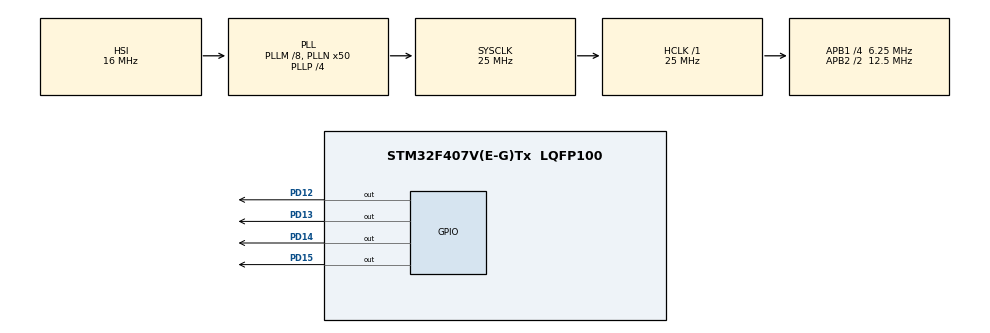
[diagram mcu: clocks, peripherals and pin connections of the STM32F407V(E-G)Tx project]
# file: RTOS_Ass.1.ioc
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Mcu.Family=STM32F4
Mcu.Name=STM32F407V(E-G)Tx
Mcu.Package=LQFP100
NVIC.PriorityGroup=NVIC_PRIORITYGROUP_4
NVIC.TIM1_UP_TIM10_IRQn=true\:0\:0\:false\:false\:true\:false\:true\:true
NVIC.TimeBase=TIM1_UP_TIM10_IRQn
NVIC.TimeBaseIP=TIM1
PD12.Signal=GPIO_Output
PD13.Signal=GPIO_Output
PD14.Signal=GPIO_Output
PD15.Signal=GPIO_Output
ProjectManager.HeapSize=0x200
ProjectManager.StackSize=0x400
ProjectManager.TargetToolchain=STM32CubeIDE
RCC.48MHZClocksFreq_Value=14285714.285714285
RCC.AHBFreq_Value=25000000
RCC.APB1CLKDivider=RCC_HCLK_DIV4
RCC.APB1Freq_Value=6250000
RCC.APB1TimFreq_Value=12500000
RCC.APB2CLKDivider=RCC_HCLK_DIV2
RCC.APB2Freq_Value=12500000
RCC.APB2TimFreq_Value=25000000
RCC.CortexFreq_Value=25000000
RCC.HCLKFreq_Value=25000000
RCC.HSE_VALUE=8000000
RCC.HSI_VALUE=16000000
RCC.LSE_VALUE=32768
RCC.PLLM=8
RCC.PLLN=50
RCC.PLLP=RCC_PLLP_DIV4
RCC.PLLQ=7
RCC.SYSCLKFreq_VALUE=25000000
RCC.SYSCLKSource=RCC_SYSCLKSOURCE_PLLCLK
RCC.VCOOutputFreq_Value=100000000
VP_SYS_VS_tim1.Mode=TIM1
board=STM32F407G-DISC1

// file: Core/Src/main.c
/* USER CODE BEGIN Header */
/**
  ******************************************************************************
  * @file           : main.c
  * @brief          : Main program body
  ******************************************************************************
  * @attention
  *
  * Copyright (c) 2024 STMicroelectronics.
  * All rights reserved.
  *
  * This software is licensed under terms that can be found in the LICENSE file
  * in the root directory of this software component.
  * If no LICENSE file comes with this software, it is provided AS-IS.
  *
  ******************************************************************************
  */
/* USER CODE END Header */
#include "main.h"

/* USER CODE BEGIN Includes */
#include "FreeRTOS.h"
#include  "FreeRTOSConfig.h"
#include "task.h"
/* USER CODE END Includes */

void SystemClock_Config(void);
static void MX_GPIO_Init(void);

/* USER CODE BEGIN 0 */
void vAperiodicTask(void *pvParam)
{
	while(1)
	{
		HAL_GPIO_TogglePin(GPIOD, GPIO_PIN_15);
		vTaskDelay(1000 / portTICK_RATE_MS);
	}
	vTaskDelete(NULL);
}

void vAperiodic1Task1(void *pvParam)
{
	while(1)
	{
		HAL_GPIO_TogglePin(GPIOD, GPIO_PIN_12);
		vTaskDelay(1500 / portTICK_RATE_MS);
	}
	vTaskDelete(NULL);
}

void vPeriodicTask(void *pvParam)
{
	portTickType wakeupTime = xTaskGetTickCount();
	while(1)
	{
		HAL_GPIO_TogglePin(GPIOD, GPIO_PIN_13);
		vTaskDelayUntil(&wakeupTime ,2000 / portTICK_RATE_MS);
	}
	vTaskDelete(NULL);
}

void vPeriodic1Task1(void *pvParam)
{
	portTickType wakeupTime = xTaskGetTickCount();
	while(1)
	{
		HAL_GPIO_TogglePin(GPIOD, GPIO_PIN_14);
		vTaskDelayUntil(&wakeupTime ,2500 / portTICK_RATE_MS);
	}
	vTaskDelete(NULL);
}

/* USER CODE END 0 */

int main(void)
{

  /* USER CODE BEGIN 1 */
	BaseType_t ret;
  /* USER CODE END 1 */

  /* MCU Configuration--------------------------------------------------------*/

  /* Reset of all peripherals, Initializes the Flash interface and the Systick. */
  HAL_Init();

  /* Configure the system clock */
  SystemClock_Config();

  /* Initialize all configured peripherals */
  MX_GPIO_Init();
  /* USER CODE BEGIN 2 */
  ret = xTaskCreate(vPeriodicTask, "Periodic", configMINIMAL_STACK_SIZE, NULL, 2, NULL);
  if(ret != pdTRUE)
	  Error_Handler();
  ret = xTaskCreate(vPeriodic1Task1, "Periodic1", configMINIMAL_STACK_SIZE, NULL, 2, NULL);
    if(ret != pdTRUE)
  	  Error_Handler();
  ret = xTaskCreate(vAperiodicTask, "Aperiodic", configMINIMAL_STACK_SIZE, NULL, 2, NULL);
  if(ret != pdTRUE)
  	  Error_Handler();
  ret = xTaskCreate(vAperiodic1Task1, "Aperiodic1", configMINIMAL_STACK_SIZE, NULL, 2, NULL);
    if(ret != pdTRUE)
    	  Error_Handler();

  vTaskStartScheduler();
  /* USER CODE END 2 */

  /* Infinite loop */
  while (1)
  {

  }
}

void SystemClock_Config(void)
{
  RCC_OscInitTypeDef RCC_OscInitStruct = {0};
  RCC_ClkInitTypeDef RCC_ClkInitStruct = {0};

  /** Configure the main internal regulator output voltage
  */
  __HAL_RCC_PWR_CLK_ENABLE();
  __HAL_PWR_VOLTAGESCALING_CONFIG(PWR_REGULATOR_VOLTAGE_SCALE1);

  /** Initializes the RCC Oscillators according to the specified parameters
  * in the RCC_OscInitTypeDef structure.
  */
  RCC_OscInitStruct.OscillatorType = RCC_OSCILLATORTYPE_HSI;
  RCC_OscInitStruct.HSIState = RCC_HSI_ON;
  RCC_OscInitStruct.HSICalibrationValue = RCC_HSICALIBRATION_DEFAULT;
  RCC_OscInitStruct.PLL.PLLState = RCC_PLL_ON;
  RCC_OscInitStruct.PLL.PLLSource = RCC_PLLSOURCE_HSI;
  RCC_OscInitStruct.PLL.PLLM = 8;
  RCC_OscInitStruct.PLL.PLLN = 50;
  RCC_OscInitStruct.PLL.PLLP = RCC_PLLP_DIV4;
  RCC_OscInitStruct.PLL.PLLQ = 7;
  if (HAL_RCC_OscConfig(&RCC_OscInitStruct) != HAL_OK)
  {
    Error_Handler();
  }

  /** Initializes the CPU, AHB and APB buses clocks
  */
  RCC_ClkInitStruct.ClockType = RCC_CLOCKTYPE_HCLK|RCC_CLOCKTYPE_SYSCLK
                              |RCC_CLOCKTYPE_PCLK1|RCC_CLOCKTYPE_PCLK2;
  RCC_ClkInitStruct.SYSCLKSource = RCC_SYSCLKSOURCE_PLLCLK;
  RCC_ClkInitStruct.AHBCLKDivider = RCC_SYSCLK_DIV1;
  RCC_ClkInitStruct.APB1CLKDivider = RCC_HCLK_DIV4;
  RCC_ClkInitStruct.APB2CLKDivider = RCC_HCLK_DIV2;

  if (HAL_RCC_ClockConfig(&RCC_ClkInitStruct, FLASH_LATENCY_0) != HAL_OK)
  {
    Error_Handler();
  }
}

static void MX_GPIO_Init(void)
{
  GPIO_InitTypeDef GPIO_InitStruct = {0};

  /* GPIO Ports Clock Enable */
  __HAL_RCC_GPIOD_CLK_ENABLE();

  /*Configure GPIO pin Output Level */
  HAL_GPIO_WritePin(GPIOD, GPIO_PIN_12|GPIO_PIN_13|GPIO_PIN_14|GPIO_PIN_15, GPIO_PIN_RESET);

  /*Configure GPIO pins : PD12 PD13 PD14 PD15 */
  GPIO_InitStruct.Pin = GPIO_PIN_12|GPIO_PIN_13|GPIO_PIN_14|GPIO_PIN_15;
  GPIO_InitStruct.Mode = GPIO_MODE_OUTPUT_PP;
  GPIO_InitStruct.Pull = GPIO_NOPULL;
  GPIO_InitStruct.Speed = GPIO_SPEED_FREQ_LOW;
  HAL_GPIO_Init(GPIOD, &GPIO_InitStruct);

}

void HAL_TIM_PeriodElapsedCallback(TIM_HandleTypeDef *htim)
{
  if (htim->Instance == TIM1) {
    HAL_IncTick();
  }
}

void Error_Handler(void)
{
  __disable_irq();
  while (1)
  {
  }
}
